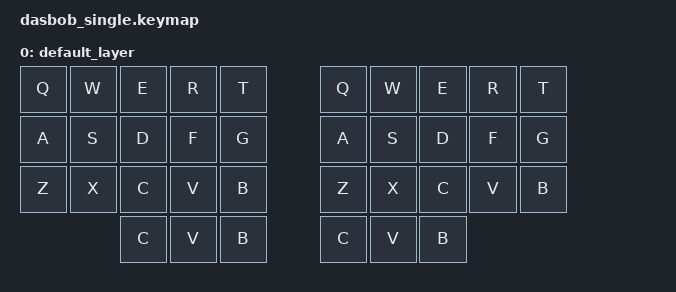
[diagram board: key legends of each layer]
/*
 * Copyright (c) 2024 The ZMK Contributors
 *
 * SPDX-License-Identifier: MIT
/*
 * DASBOB Single Controller Configuration
 * Both halves wired to one controller via TRRS
 */

#include <dt-bindings/zmk/matrix_transform.h>

/ {
    chosen {
        zmk,kscan = &kscan0;
        zmk,matrix_transform = &default_transform;
    };

    default_transform: keymap_transform_0 {
        compatible = "zmk,matrix-transform";
        columns = <10>;
        rows = <4>;
        map = <
            RC(0,0) RC(0,1) RC(0,2) RC(0,3) RC(0,4)    RC(0,5) RC(0,6) RC(0,7) RC(0,8) RC(0,9)
            RC(1,0) RC(1,1) RC(1,2) RC(1,3) RC(1,4)    RC(1,5) RC(1,6) RC(1,7) RC(1,8) RC(1,9)
            RC(2,0) RC(2,1) RC(2,2) RC(2,3) RC(2,4)    RC(2,5) RC(2,6) RC(2,7) RC(2,8) RC(2,9)
                            RC(3,0) RC(3,1) RC(3,2)    RC(3,3) RC(3,4) RC(3,5)
        >;
    };

    kscan0: kscan {
        compatible = "zmk,kscan-gpio-direct";
        label = "KSCAN";
        
        input-gpios
            // Left half - Row 0 (Q W E R T)
            = <&gpio0 13 (GPIO_ACTIVE_LOW | GPIO_PULL_UP)>   // Q
            , <&gpio0 28 (GPIO_ACTIVE_LOW | GPIO_PULL_UP)>   // W  
            , <&gpio0 12 (GPIO_ACTIVE_LOW | GPIO_PULL_UP)>   // E
            , <&gpio0 29 (GPIO_ACTIVE_LOW | GPIO_PULL_UP)>   // R
            , <&gpio0 0 (GPIO_ACTIVE_LOW | GPIO_PULL_UP)>    // T
            
            // Right half - Row 0 (Y U I O P) - via TRRS
            , <&gpio0 1 (GPIO_ACTIVE_LOW | GPIO_PULL_UP)>    // Y
            , <&gpio0 2 (GPIO_ACTIVE_LOW | GPIO_PULL_UP)>    // U
            , <&gpio0 3 (GPIO_ACTIVE_LOW | GPIO_PULL_UP)>    // I
            , <&gpio0 5 (GPIO_ACTIVE_LOW | GPIO_PULL_UP)>    // O
            , <&gpio0 15 (GPIO_ACTIVE_LOW | GPIO_PULL_UP)>   // P
            
            // Left half - Row 1 (A S D F G)
            , <&gpio0 22 (GPIO_ACTIVE_LOW | GPIO_PULL_UP)>   // A
            , <&gpio0 14 (GPIO_ACTIVE_LOW | GPIO_PULL_UP)>   // S
            , <&gpio0 26 (GPIO_ACTIVE_LOW | GPIO_PULL_UP)>   // D
            , <&gpio0 4 (GPIO_ACTIVE_LOW | GPIO_PULL_UP)>    // F
            , <&gpio0 27 (GPIO_ACTIVE_LOW | GPIO_PULL_UP)>   // G
            
            // Right half - Row 1 (H J K L ;) - via TRRS
            , <&gpio0 17 (GPIO_ACTIVE_LOW | GPIO_PULL_UP)>   // H
            , <&gpio0 18 (GPIO_ACTIVE_LOW | GPIO_PULL_UP)>   // J
            , <&gpio0 19 (GPIO_ACTIVE_LOW | GPIO_PULL_UP)>   // K
            , <&gpio0 24 (GPIO_ACTIVE_LOW | GPIO_PULL_UP)>   // L
            , <&gpio0 25 (GPIO_ACTIVE_LOW | GPIO_PULL_UP)>   // ;
            
            // Left half - Row 2 (Z X C V B)
            , <&gpio0 21 (GPIO_ACTIVE_LOW | GPIO_PULL_UP)>   // Z
            , <&gpio0 23 (GPIO_ACTIVE_LOW | GPIO_PULL_UP)>   // X
            , <&gpio0 7 (GPIO_ACTIVE_LOW | GPIO_PULL_UP)>    // C
            , <&gpio0 20 (GPIO_ACTIVE_LOW | GPIO_PULL_UP)>   // V
            , <&gpio0 6 (GPIO_ACTIVE_LOW | GPIO_PULL_UP)>    // B
            
            // Right half - Row 2 (N M , . /) - via TRRS
            , <&gpio0 10 (GPIO_ACTIVE_LOW | GPIO_PULL_UP)>   // N
            , <&gpio0 11 (GPIO_ACTIVE_LOW | GPIO_PULL_UP)>   // M
            , <&gpio0 30 (GPIO_ACTIVE_LOW | GPIO_PULL_UP)>   // ,
            , <&gpio0 31 (GPIO_ACTIVE_LOW | GPIO_PULL_UP)>   // .
            , <&gpio0 32 (GPIO_ACTIVE_LOW | GPIO_PULL_UP)>   // /
            
            // Left thumb keys
            , <&gpio0 16 (GPIO_ACTIVE_LOW | GPIO_PULL_UP)>   // Left thumb 1
            , <&gpio0 9 (GPIO_ACTIVE_LOW | GPIO_PULL_UP)>    // Left thumb 2  
            , <&gpio0 8 (GPIO_ACTIVE_LOW | GPIO_PULL_UP)>    // Left thumb 3
            
            // Right thumb keys - via TRRS
            , <&gpio0 33 (GPIO_ACTIVE_LOW | GPIO_PULL_UP)>   // Right thumb 1
            , <&gpio0 34 (GPIO_ACTIVE_LOW | GPIO_PULL_UP)>   // Right thumb 2
            , <&gpio0 35 (GPIO_ACTIVE_LOW | GPIO_PULL_UP)>   // Right thumb 3
            ;
    };
};
 */

#include <behaviors.dtsi>
#include <dt-bindings/zmk/keys.h>

/ {
    keymap {
        compatible = "zmk,keymap";

        default_layer {
            bindings = <
                &kp Q &kp W &kp E &kp R &kp T  &kp Q &kp W &kp E &kp R &kp T
                &kp A &kp S &kp D &kp F &kp G  &kp A &kp S &kp D &kp F &kp G
                &kp Z &kp X &kp C &kp V &kp B  &kp Z &kp X &kp C &kp V &kp B
                            &kp C &kp V &kp B  &kp C &kp V &kp B

            >;
        };
    };
};
